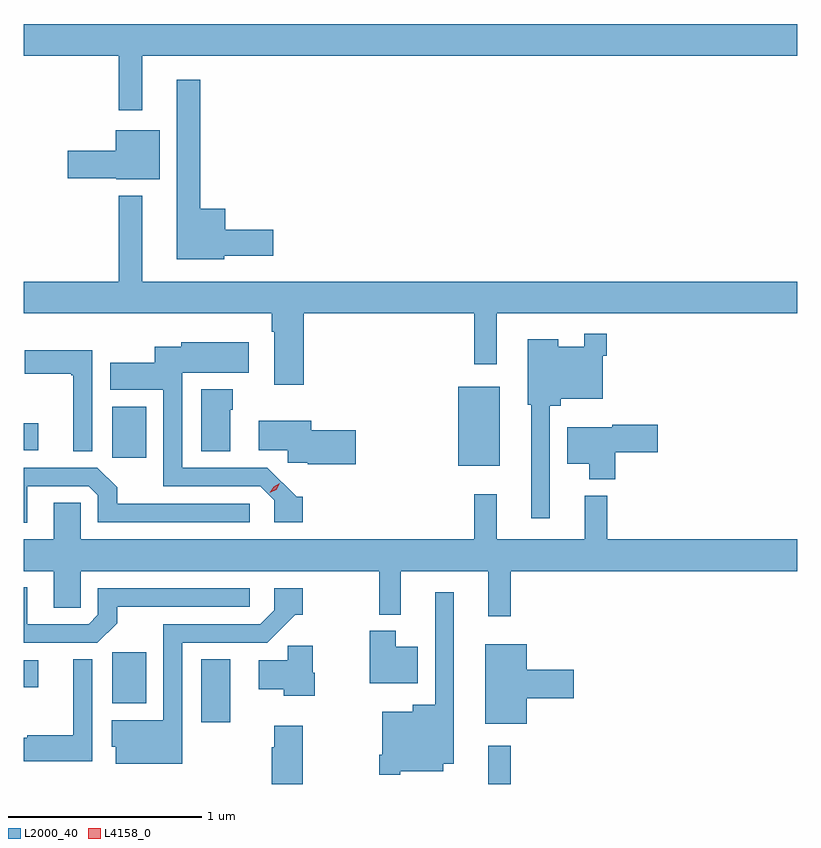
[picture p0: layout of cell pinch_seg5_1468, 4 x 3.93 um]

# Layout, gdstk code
import gdstk
lib = gdstk.Library(unit=1e-6, precision=1e-09)
def R(c, l, rs):  # rectangles x0, y0, x1, y1
    for r in rs: c.add(gdstk.rectangle(r[:2], r[2:], *l))
def P(c, l, *ps):  # polygons
    for p in ps: c.add(gdstk.Polygon(p, *l))
L2000_40 = (2000, 40)
L4158_0 = (4158, 0)

pinch_seg5_1468 = lib.new_cell('pinch_seg5_1468')
R(pinch_seg5_1468, L2000_40, [(336.007,834.347,336.125,834.544), (334.523,834.666,334.675,834.992), (334.064,834.764,334.24,835.028), (333.606,834.848,333.682,834.988), (335.852,835.991,336.067,836.401), (334.064,836.033,334.24,836.296), (333.606,836.072,333.682,836.212)])
P(pinch_seg5_1468, L2000_40, [(334.219,838.112),(337.606,838.112),(337.606,838.276),(333.606,838.276),(333.606,838.112),(334.098,838.112),(334.098,837.831),(334.219,837.831)],
  [(334.644,837.077),(334.897,837.077),(334.897,837.212),(334.648,837.212),(334.648,837.322),(334.519,837.322),(334.519,837.988),(334.397,837.988),(334.397,837.059),(334.644,837.059)],
  [(334.309,837.727),(334.082,837.727),(334.082,837.621),(333.834,837.621),(333.834,837.479),(334.086,837.479),(334.086,837.473),(334.309,837.473)],
  [(335.054,836.78),(335.935,836.78),(335.935,836.517),(336.052,836.517),(336.052,836.78),(337.606,836.78),(337.606,836.944),(334.219,836.944),(334.219,837.388),(334.098,837.388),(334.098,836.944),(333.606,836.944),(333.606,836.78),(334.889,836.78),(334.889,836.684),(334.901,836.684),(334.901,836.412),(335.054,836.412)],
  [(336.327,836.303),(336.383,836.303),(336.383,836.339),(336.6,836.339),(336.6,836.561),(336.62,836.561),(336.62,836.674),(336.503,836.674),(336.503,836.608),(336.37,836.608),(336.37,836.647),(336.212,836.647),(336.212,836.307),(336.23,836.307),(336.23,835.722),(336.327,835.722)],
  [(335.05,835.831),(335.018,835.831),(334.866,835.983),(334.425,835.983),(334.425,836.474),(334.771,836.474),(334.771,836.632),(334.422,836.632),(334.422,836.608),(334.283,836.608),(334.283,836.524),(334.053,836.524),(334.053,836.384),(334.329,836.384),(334.329,835.887),(334.83,835.887),(334.902,835.815),(334.902,835.701),(335.05,835.701)],
  [(333.96,836.59),(333.612,836.59),(333.612,836.468),(333.852,836.468),(333.852,836.461),(333.863,836.461),(333.863,836.068),(333.96,836.068)],
  [(334.675,836.282),(334.688,836.282),(334.688,836.389),(334.523,836.389),(334.523,836.068),(334.675,836.068)],
  [(335.323,836.177),(335.092,836.177),(335.092,836.224),(334.821,836.224),(334.821,836.072),(334.971,836.072),(334.971,836.007),(335.074,836.007),(335.074,835.999),(335.323,835.999)],
  [(336.665,836.062),(336.883,836.062),(336.883,836.204),(336.648,836.204),(336.648,836.191),(336.416,836.191),(336.416,836.003),(336.53,836.003),(336.53,835.922),(336.665,835.922)],
  [(333.625,835.887),(333.942,835.887),(333.99,835.839),(333.99,835.701),(334.774,835.701),(334.774,835.797),(334.089,835.797),(334.089,835.881),(333.987,835.983),(333.606,835.983),(333.606,835.698),(333.625,835.698)],
  [(336.125,835.448),(337.606,835.448),(337.606,835.612),(336.623,835.612),(336.623,835.837),(336.506,835.837),(336.506,835.612),(336.053,835.612),(336.053,835.846),(335.935,835.846),(335.935,835.612),(333.9,835.612),(333.9,835.802),(333.761,835.802),(333.761,835.612),(333.606,835.612),(333.606,835.448),(333.761,835.448),(333.761,835.258),(333.9,835.258),(333.9,835.448),(335.445,835.448),(335.445,835.223),(335.555,835.223),(335.555,835.448),(336.008,835.448),(336.008,835.215),(336.125,835.215)],
  [(334.089,835.179),(334.089,835.263),(334.774,835.263),(334.774,835.359),(333.99,835.359),(333.99,835.221),(333.942,835.173),(333.625,835.173),(333.625,835.363),(333.606,835.363),(333.606,835.077),(333.987,835.077)],
  [(334.425,835.077),(334.866,835.077),(335.011,835.222),(335.05,835.222),(335.05,835.359),(334.902,835.359),(334.902,835.245),(334.83,835.173),(334.329,835.173),(334.329,834.676),(334.061,834.676),(334.061,834.54),(334.082,834.54),(334.082,834.452),(334.425,834.452)],
  [(335.553,834.413),(335.776,834.413),(335.776,834.452),(335.83,834.452),(335.83,835.339),(335.733,835.339),(335.733,834.757),(335.618,834.757),(335.618,834.721),(335.459,834.721),(335.459,834.499),(335.445,834.499),(335.445,834.395),(335.553,834.395)],
  [(335.644,835.057),(335.53,835.057),(335.53,835.138),(335.396,835.138),(335.396,834.869),(335.644,834.869)],
  [(336.208,834.791),(336.451,834.791),(336.451,834.938),(336.208,834.938),(336.208,835.069),(335.993,835.069),(335.993,834.659),(336.208,834.659)],
  [(335.11,834.921),(335.1,834.921),(335.1,835.061),(334.972,835.061),(334.972,834.988),(334.821,834.988),(334.821,834.836),(334.952,834.836),(334.952,834.803),(335.11,834.803)],
  [(333.96,834.992),(333.863,834.992),(333.863,834.6),(333.624,834.6),(333.624,834.586),(333.606,834.586),(333.606,834.464),(333.96,834.464)],
  [(335.049,834.649),(334.901,834.649),(334.901,834.536),(334.889,834.536),(334.889,834.347),(335.049,834.347)])
P(pinch_seg5_1468, L4158_0, [(334.878,835.852),(334.878,835.853),(334.898,835.884),(334.931,835.901),(334.931,835.901),(334.931,835.901),(334.911,835.869),(334.878,835.852)])

lib.write_gds('pinch_seg5_1468.gds')
